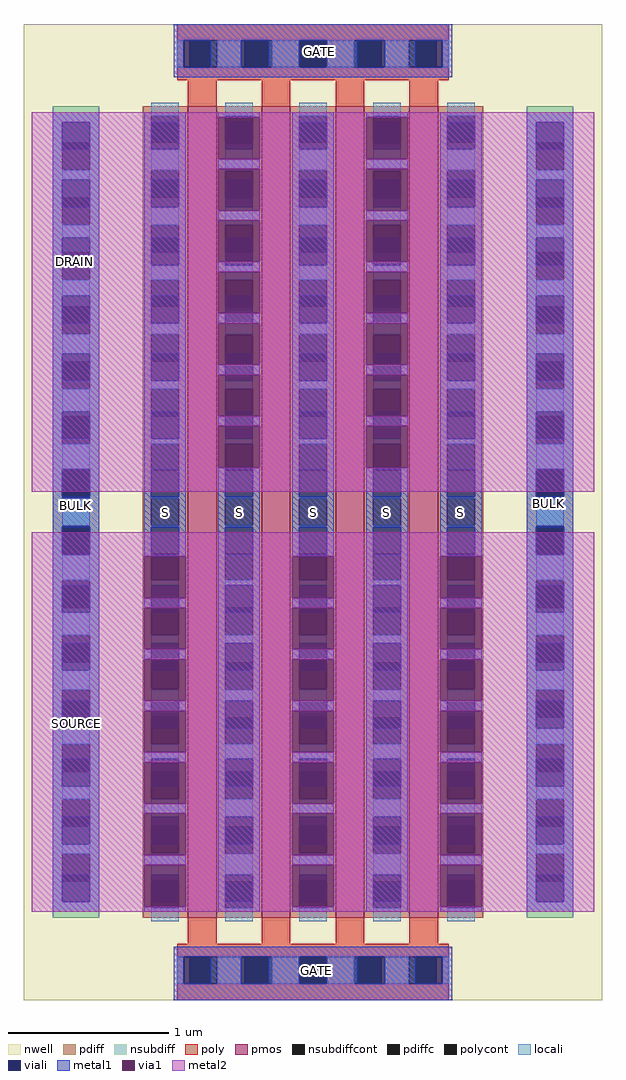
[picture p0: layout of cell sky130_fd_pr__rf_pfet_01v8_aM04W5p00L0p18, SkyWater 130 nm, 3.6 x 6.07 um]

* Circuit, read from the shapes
.subckt sky130_fd_pr__rf_pfet_01v8_aM04W5p00L0p18 BULK DRAIN GATE SOURCE
XM1 DRAIN GATE SOURCE BULK sky130_fd_pr__pfet_01v8 w=5.05 l=0.18 m=4
.ends

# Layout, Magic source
magic
tech sky130A
magscale 1 2
<< nwell >>
rect 0 0 720 1214
<< pmos >>
rect 204 102 240 1112
rect 296 102 332 1112
rect 388 102 424 1112
rect 480 102 516 1112
<< pdiff >>
rect 148 1100 204 1112
rect 148 1066 159 1100
rect 193 1066 204 1100
rect 148 1032 204 1066
rect 148 998 159 1032
rect 193 998 204 1032
rect 148 964 204 998
rect 148 930 159 964
rect 193 930 204 964
rect 148 896 204 930
rect 148 862 159 896
rect 193 862 204 896
rect 148 828 204 862
rect 148 794 159 828
rect 193 794 204 828
rect 148 760 204 794
rect 148 726 159 760
rect 193 726 204 760
rect 148 692 204 726
rect 148 658 159 692
rect 193 658 204 692
rect 148 624 204 658
rect 148 590 159 624
rect 193 590 204 624
rect 148 556 204 590
rect 148 522 159 556
rect 193 522 204 556
rect 148 488 204 522
rect 148 454 159 488
rect 193 454 204 488
rect 148 420 204 454
rect 148 386 159 420
rect 193 386 204 420
rect 148 352 204 386
rect 148 318 159 352
rect 193 318 204 352
rect 148 284 204 318
rect 148 250 159 284
rect 193 250 204 284
rect 148 216 204 250
rect 148 182 159 216
rect 193 182 204 216
rect 148 148 204 182
rect 148 114 159 148
rect 193 114 204 148
rect 148 102 204 114
rect 240 1100 296 1112
rect 240 1066 251 1100
rect 285 1066 296 1100
rect 240 1032 296 1066
rect 240 998 251 1032
rect 285 998 296 1032
rect 240 964 296 998
rect 240 930 251 964
rect 285 930 296 964
rect 240 896 296 930
rect 240 862 251 896
rect 285 862 296 896
rect 240 828 296 862
rect 240 794 251 828
rect 285 794 296 828
rect 240 760 296 794
rect 240 726 251 760
rect 285 726 296 760
rect 240 692 296 726
rect 240 658 251 692
rect 285 658 296 692
rect 240 624 296 658
rect 240 590 251 624
rect 285 590 296 624
rect 240 556 296 590
rect 240 522 251 556
rect 285 522 296 556
rect 240 488 296 522
rect 240 454 251 488
rect 285 454 296 488
rect 240 420 296 454
rect 240 386 251 420
rect 285 386 296 420
rect 240 352 296 386
rect 240 318 251 352
rect 285 318 296 352
rect 240 284 296 318
rect 240 250 251 284
rect 285 250 296 284
rect 240 216 296 250
rect 240 182 251 216
rect 285 182 296 216
rect 240 148 296 182
rect 240 114 251 148
rect 285 114 296 148
rect 240 102 296 114
rect 332 1100 388 1112
rect 332 1066 343 1100
rect 377 1066 388 1100
rect 332 1032 388 1066
rect 332 998 343 1032
rect 377 998 388 1032
rect 332 964 388 998
rect 332 930 343 964
rect 377 930 388 964
rect 332 896 388 930
rect 332 862 343 896
rect 377 862 388 896
rect 332 828 388 862
rect 332 794 343 828
rect 377 794 388 828
rect 332 760 388 794
rect 332 726 343 760
rect 377 726 388 760
rect 332 692 388 726
rect 332 658 343 692
rect 377 658 388 692
rect 332 624 388 658
rect 332 590 343 624
rect 377 590 388 624
rect 332 556 388 590
rect 332 522 343 556
rect 377 522 388 556
rect 332 488 388 522
rect 332 454 343 488
rect 377 454 388 488
rect 332 420 388 454
rect 332 386 343 420
rect 377 386 388 420
rect 332 352 388 386
rect 332 318 343 352
rect 377 318 388 352
rect 332 284 388 318
rect 332 250 343 284
rect 377 250 388 284
rect 332 216 388 250
rect 332 182 343 216
rect 377 182 388 216
rect 332 148 388 182
rect 332 114 343 148
rect 377 114 388 148
rect 332 102 388 114
rect 424 1100 480 1112
rect 424 1066 435 1100
rect 469 1066 480 1100
rect 424 1032 480 1066
rect 424 998 435 1032
rect 469 998 480 1032
rect 424 964 480 998
rect 424 930 435 964
rect 469 930 480 964
rect 424 896 480 930
rect 424 862 435 896
rect 469 862 480 896
rect 424 828 480 862
rect 424 794 435 828
rect 469 794 480 828
rect 424 760 480 794
rect 424 726 435 760
rect 469 726 480 760
rect 424 692 480 726
rect 424 658 435 692
rect 469 658 480 692
rect 424 624 480 658
rect 424 590 435 624
rect 469 590 480 624
rect 424 556 480 590
rect 424 522 435 556
rect 469 522 480 556
rect 424 488 480 522
rect 424 454 435 488
rect 469 454 480 488
rect 424 420 480 454
rect 424 386 435 420
rect 469 386 480 420
rect 424 352 480 386
rect 424 318 435 352
rect 469 318 480 352
rect 424 284 480 318
rect 424 250 435 284
rect 469 250 480 284
rect 424 216 480 250
rect 424 182 435 216
rect 469 182 480 216
rect 424 148 480 182
rect 424 114 435 148
rect 469 114 480 148
rect 424 102 480 114
rect 516 1100 572 1112
rect 516 1066 527 1100
rect 561 1066 572 1100
rect 516 1032 572 1066
rect 516 998 527 1032
rect 561 998 572 1032
rect 516 964 572 998
rect 516 930 527 964
rect 561 930 572 964
rect 516 896 572 930
rect 516 862 527 896
rect 561 862 572 896
rect 516 828 572 862
rect 516 794 527 828
rect 561 794 572 828
rect 516 760 572 794
rect 516 726 527 760
rect 561 726 572 760
rect 516 692 572 726
rect 516 658 527 692
rect 561 658 572 692
rect 516 624 572 658
rect 516 590 527 624
rect 561 590 572 624
rect 516 556 572 590
rect 516 522 527 556
rect 561 522 572 556
rect 516 488 572 522
rect 516 454 527 488
rect 561 454 572 488
rect 516 420 572 454
rect 516 386 527 420
rect 561 386 572 420
rect 516 352 572 386
rect 516 318 527 352
rect 561 318 572 352
rect 516 284 572 318
rect 516 250 527 284
rect 561 250 572 284
rect 516 216 572 250
rect 516 182 527 216
rect 561 182 572 216
rect 516 148 572 182
rect 516 114 527 148
rect 561 114 572 148
rect 516 102 572 114
<< pdiffc >>
rect 159 1066 193 1100
rect 159 998 193 1032
rect 159 930 193 964
rect 159 862 193 896
rect 159 794 193 828
rect 159 726 193 760
rect 159 658 193 692
rect 159 590 193 624
rect 159 522 193 556
rect 159 454 193 488
rect 159 386 193 420
rect 159 318 193 352
rect 159 250 193 284
rect 159 182 193 216
rect 159 114 193 148
rect 251 1066 285 1100
rect 251 998 285 1032
rect 251 930 285 964
rect 251 862 285 896
rect 251 794 285 828
rect 251 726 285 760
rect 251 658 285 692
rect 251 590 285 624
rect 251 522 285 556
rect 251 454 285 488
rect 251 386 285 420
rect 251 318 285 352
rect 251 250 285 284
rect 251 182 285 216
rect 251 114 285 148
rect 343 1066 377 1100
rect 343 998 377 1032
rect 343 930 377 964
rect 343 862 377 896
rect 343 794 377 828
rect 343 726 377 760
rect 343 658 377 692
rect 343 590 377 624
rect 343 522 377 556
rect 343 454 377 488
rect 343 386 377 420
rect 343 318 377 352
rect 343 250 377 284
rect 343 182 377 216
rect 343 114 377 148
rect 435 1066 469 1100
rect 435 998 469 1032
rect 435 930 469 964
rect 435 862 469 896
rect 435 794 469 828
rect 435 726 469 760
rect 435 658 469 692
rect 435 590 469 624
rect 435 522 469 556
rect 435 454 469 488
rect 435 386 469 420
rect 435 318 469 352
rect 435 250 469 284
rect 435 182 469 216
rect 435 114 469 148
rect 527 1066 561 1100
rect 527 998 561 1032
rect 527 930 561 964
rect 527 862 561 896
rect 527 794 561 828
rect 527 726 561 760
rect 527 658 561 692
rect 527 590 561 624
rect 527 522 561 556
rect 527 454 561 488
rect 527 386 561 420
rect 527 318 561 352
rect 527 250 561 284
rect 527 182 561 216
rect 527 114 561 148
<< nsubdiff >>
rect 36 1066 94 1112
rect 36 1032 48 1066
rect 82 1032 94 1066
rect 36 998 94 1032
rect 36 964 48 998
rect 82 964 94 998
rect 36 930 94 964
rect 36 896 48 930
rect 82 896 94 930
rect 36 862 94 896
rect 36 828 48 862
rect 82 828 94 862
rect 36 794 94 828
rect 36 760 48 794
rect 82 760 94 794
rect 36 726 94 760
rect 36 692 48 726
rect 82 692 94 726
rect 36 658 94 692
rect 36 624 48 658
rect 82 624 94 658
rect 36 590 94 624
rect 36 556 48 590
rect 82 556 94 590
rect 36 522 94 556
rect 36 488 48 522
rect 82 488 94 522
rect 36 454 94 488
rect 36 420 48 454
rect 82 420 94 454
rect 36 386 94 420
rect 36 352 48 386
rect 82 352 94 386
rect 36 318 94 352
rect 36 284 48 318
rect 82 284 94 318
rect 36 250 94 284
rect 36 216 48 250
rect 82 216 94 250
rect 36 182 94 216
rect 36 148 48 182
rect 82 148 94 182
rect 36 102 94 148
rect 626 1066 684 1112
rect 626 1032 638 1066
rect 672 1032 684 1066
rect 626 998 684 1032
rect 626 964 638 998
rect 672 964 684 998
rect 626 930 684 964
rect 626 896 638 930
rect 672 896 684 930
rect 626 862 684 896
rect 626 828 638 862
rect 672 828 684 862
rect 626 794 684 828
rect 626 760 638 794
rect 672 760 684 794
rect 626 726 684 760
rect 626 692 638 726
rect 672 692 684 726
rect 626 658 684 692
rect 626 624 638 658
rect 672 624 684 658
rect 626 590 684 624
rect 626 556 638 590
rect 672 556 684 590
rect 626 522 684 556
rect 626 488 638 522
rect 672 488 684 522
rect 626 454 684 488
rect 626 420 638 454
rect 672 420 684 454
rect 626 386 684 420
rect 626 352 638 386
rect 672 352 684 386
rect 626 318 684 352
rect 626 284 638 318
rect 672 284 684 318
rect 626 250 684 284
rect 626 216 638 250
rect 672 216 684 250
rect 626 182 684 216
rect 626 148 638 182
rect 672 148 684 182
rect 626 102 684 148
<< nsubdiffcont >>
rect 48 1032 82 1066
rect 48 964 82 998
rect 48 896 82 930
rect 48 828 82 862
rect 48 760 82 794
rect 48 692 82 726
rect 48 624 82 658
rect 48 556 82 590
rect 48 488 82 522
rect 48 420 82 454
rect 48 352 82 386
rect 48 284 82 318
rect 48 216 82 250
rect 48 148 82 182
rect 638 1032 672 1066
rect 638 964 672 998
rect 638 896 672 930
rect 638 828 672 862
rect 638 760 672 794
rect 638 692 672 726
rect 638 624 672 658
rect 638 556 672 590
rect 638 488 672 522
rect 638 420 672 454
rect 638 352 672 386
rect 638 284 672 318
rect 638 216 672 250
rect 638 148 672 182
<< poly >>
rect 191 1194 529 1214
rect 191 1160 207 1194
rect 241 1160 275 1194
rect 309 1160 343 1194
rect 377 1160 411 1194
rect 445 1160 479 1194
rect 513 1160 529 1194
rect 191 1144 529 1160
rect 204 1112 240 1144
rect 296 1112 332 1144
rect 388 1112 424 1144
rect 480 1112 516 1144
rect 204 70 240 102
rect 296 70 332 102
rect 388 70 424 102
rect 480 70 516 102
rect 191 54 529 70
rect 191 20 207 54
rect 241 20 275 54
rect 309 20 343 54
rect 377 20 411 54
rect 445 20 479 54
rect 513 20 529 54
rect 191 0 529 20
<< polycont >>
rect 207 1160 241 1194
rect 275 1160 309 1194
rect 343 1160 377 1194
rect 411 1160 445 1194
rect 479 1160 513 1194
rect 207 20 241 54
rect 275 20 309 54
rect 343 20 377 54
rect 411 20 445 54
rect 479 20 513 54
<< locali >>
rect 191 1160 199 1194
rect 241 1160 271 1194
rect 309 1160 343 1194
rect 377 1160 411 1194
rect 449 1160 479 1194
rect 521 1160 529 1194
rect 159 1100 193 1116
rect 48 1020 82 1032
rect 48 948 82 964
rect 48 876 82 896
rect 48 804 82 828
rect 48 732 82 760
rect 48 660 82 692
rect 48 590 82 624
rect 48 522 82 554
rect 48 454 82 482
rect 48 386 82 410
rect 48 318 82 338
rect 48 250 82 266
rect 48 182 82 194
rect 159 1032 193 1058
rect 159 964 193 986
rect 159 896 193 914
rect 159 828 193 842
rect 159 760 193 770
rect 159 692 193 698
rect 159 624 193 626
rect 159 588 193 590
rect 159 516 193 522
rect 159 444 193 454
rect 159 372 193 386
rect 159 300 193 318
rect 159 228 193 250
rect 159 156 193 182
rect 159 98 193 114
rect 251 1100 285 1116
rect 251 1032 285 1058
rect 251 964 285 986
rect 251 896 285 914
rect 251 828 285 842
rect 251 760 285 770
rect 251 692 285 698
rect 251 624 285 626
rect 251 588 285 590
rect 251 516 285 522
rect 251 444 285 454
rect 251 372 285 386
rect 251 300 285 318
rect 251 228 285 250
rect 251 156 285 182
rect 251 98 285 114
rect 343 1100 377 1116
rect 343 1032 377 1058
rect 343 964 377 986
rect 343 896 377 914
rect 343 828 377 842
rect 343 760 377 770
rect 343 692 377 698
rect 343 624 377 626
rect 343 588 377 590
rect 343 516 377 522
rect 343 444 377 454
rect 343 372 377 386
rect 343 300 377 318
rect 343 228 377 250
rect 343 156 377 182
rect 343 98 377 114
rect 435 1100 469 1116
rect 435 1032 469 1058
rect 435 964 469 986
rect 435 896 469 914
rect 435 828 469 842
rect 435 760 469 770
rect 435 692 469 698
rect 435 624 469 626
rect 435 588 469 590
rect 435 516 469 522
rect 435 444 469 454
rect 435 372 469 386
rect 435 300 469 318
rect 435 228 469 250
rect 435 156 469 182
rect 435 98 469 114
rect 527 1100 561 1116
rect 527 1032 561 1058
rect 527 964 561 986
rect 527 896 561 914
rect 527 828 561 842
rect 527 760 561 770
rect 527 692 561 698
rect 527 624 561 626
rect 527 588 561 590
rect 527 516 561 522
rect 527 444 561 454
rect 527 372 561 386
rect 527 300 561 318
rect 527 228 561 250
rect 527 156 561 182
rect 638 1020 672 1032
rect 638 948 672 964
rect 638 876 672 896
rect 638 804 672 828
rect 638 732 672 760
rect 638 660 672 692
rect 638 590 672 624
rect 638 522 672 554
rect 638 454 672 482
rect 638 386 672 410
rect 638 318 672 338
rect 638 250 672 266
rect 638 182 672 194
rect 527 98 561 114
rect 191 20 199 54
rect 241 20 271 54
rect 309 20 343 54
rect 377 20 411 54
rect 449 20 479 54
rect 521 20 529 54
<< viali >>
rect 199 1160 207 1194
rect 207 1160 233 1194
rect 271 1160 275 1194
rect 275 1160 305 1194
rect 343 1160 377 1194
rect 415 1160 445 1194
rect 445 1160 449 1194
rect 487 1160 513 1194
rect 513 1160 521 1194
rect 48 1066 82 1092
rect 48 1058 82 1066
rect 48 998 82 1020
rect 48 986 82 998
rect 48 930 82 948
rect 48 914 82 930
rect 48 862 82 876
rect 48 842 82 862
rect 48 794 82 804
rect 48 770 82 794
rect 48 726 82 732
rect 48 698 82 726
rect 48 658 82 660
rect 48 626 82 658
rect 48 556 82 588
rect 48 554 82 556
rect 48 488 82 516
rect 48 482 82 488
rect 48 420 82 444
rect 48 410 82 420
rect 48 352 82 372
rect 48 338 82 352
rect 48 284 82 300
rect 48 266 82 284
rect 48 216 82 228
rect 48 194 82 216
rect 48 148 82 156
rect 48 122 82 148
rect 159 1066 193 1092
rect 159 1058 193 1066
rect 159 998 193 1020
rect 159 986 193 998
rect 159 930 193 948
rect 159 914 193 930
rect 159 862 193 876
rect 159 842 193 862
rect 159 794 193 804
rect 159 770 193 794
rect 159 726 193 732
rect 159 698 193 726
rect 159 658 193 660
rect 159 626 193 658
rect 159 556 193 588
rect 159 554 193 556
rect 159 488 193 516
rect 159 482 193 488
rect 159 420 193 444
rect 159 410 193 420
rect 159 352 193 372
rect 159 338 193 352
rect 159 284 193 300
rect 159 266 193 284
rect 159 216 193 228
rect 159 194 193 216
rect 159 148 193 156
rect 159 122 193 148
rect 251 1066 285 1092
rect 251 1058 285 1066
rect 251 998 285 1020
rect 251 986 285 998
rect 251 930 285 948
rect 251 914 285 930
rect 251 862 285 876
rect 251 842 285 862
rect 251 794 285 804
rect 251 770 285 794
rect 251 726 285 732
rect 251 698 285 726
rect 251 658 285 660
rect 251 626 285 658
rect 251 556 285 588
rect 251 554 285 556
rect 251 488 285 516
rect 251 482 285 488
rect 251 420 285 444
rect 251 410 285 420
rect 251 352 285 372
rect 251 338 285 352
rect 251 284 285 300
rect 251 266 285 284
rect 251 216 285 228
rect 251 194 285 216
rect 251 148 285 156
rect 251 122 285 148
rect 343 1066 377 1092
rect 343 1058 377 1066
rect 343 998 377 1020
rect 343 986 377 998
rect 343 930 377 948
rect 343 914 377 930
rect 343 862 377 876
rect 343 842 377 862
rect 343 794 377 804
rect 343 770 377 794
rect 343 726 377 732
rect 343 698 377 726
rect 343 658 377 660
rect 343 626 377 658
rect 343 556 377 588
rect 343 554 377 556
rect 343 488 377 516
rect 343 482 377 488
rect 343 420 377 444
rect 343 410 377 420
rect 343 352 377 372
rect 343 338 377 352
rect 343 284 377 300
rect 343 266 377 284
rect 343 216 377 228
rect 343 194 377 216
rect 343 148 377 156
rect 343 122 377 148
rect 435 1066 469 1092
rect 435 1058 469 1066
rect 435 998 469 1020
rect 435 986 469 998
rect 435 930 469 948
rect 435 914 469 930
rect 435 862 469 876
rect 435 842 469 862
rect 435 794 469 804
rect 435 770 469 794
rect 435 726 469 732
rect 435 698 469 726
rect 435 658 469 660
rect 435 626 469 658
rect 435 556 469 588
rect 435 554 469 556
rect 435 488 469 516
rect 435 482 469 488
rect 435 420 469 444
rect 435 410 469 420
rect 435 352 469 372
rect 435 338 469 352
rect 435 284 469 300
rect 435 266 469 284
rect 435 216 469 228
rect 435 194 469 216
rect 435 148 469 156
rect 435 122 469 148
rect 527 1066 561 1092
rect 527 1058 561 1066
rect 527 998 561 1020
rect 527 986 561 998
rect 527 930 561 948
rect 527 914 561 930
rect 527 862 561 876
rect 527 842 561 862
rect 527 794 561 804
rect 527 770 561 794
rect 527 726 561 732
rect 527 698 561 726
rect 527 658 561 660
rect 527 626 561 658
rect 527 556 561 588
rect 527 554 561 556
rect 527 488 561 516
rect 527 482 561 488
rect 527 420 561 444
rect 527 410 561 420
rect 527 352 561 372
rect 527 338 561 352
rect 527 284 561 300
rect 527 266 561 284
rect 527 216 561 228
rect 527 194 561 216
rect 527 148 561 156
rect 527 122 561 148
rect 638 1066 672 1092
rect 638 1058 672 1066
rect 638 998 672 1020
rect 638 986 672 998
rect 638 930 672 948
rect 638 914 672 930
rect 638 862 672 876
rect 638 842 672 862
rect 638 794 672 804
rect 638 770 672 794
rect 638 726 672 732
rect 638 698 672 726
rect 638 658 672 660
rect 638 626 672 658
rect 638 556 672 588
rect 638 554 672 556
rect 638 488 672 516
rect 638 482 672 488
rect 638 420 672 444
rect 638 410 672 420
rect 638 352 672 372
rect 638 338 672 352
rect 638 284 672 300
rect 638 266 672 284
rect 638 216 672 228
rect 638 194 672 216
rect 638 148 672 156
rect 638 122 672 148
rect 199 20 207 54
rect 207 20 233 54
rect 271 20 275 54
rect 275 20 305 54
rect 343 20 377 54
rect 415 20 445 54
rect 445 20 449 54
rect 487 20 513 54
rect 513 20 521 54
<< metal1 >>
rect 187 1194 533 1214
rect 187 1160 199 1194
rect 233 1160 271 1194
rect 305 1160 343 1194
rect 377 1160 415 1194
rect 449 1160 487 1194
rect 521 1160 533 1194
rect 187 1148 533 1160
rect 36 1092 94 1104
rect 36 1058 48 1092
rect 82 1058 94 1092
rect 36 1020 94 1058
rect 36 986 48 1020
rect 82 986 94 1020
rect 36 948 94 986
rect 36 914 48 948
rect 82 914 94 948
rect 36 876 94 914
rect 36 842 48 876
rect 82 842 94 876
rect 36 804 94 842
rect 36 770 48 804
rect 82 770 94 804
rect 36 732 94 770
rect 36 698 48 732
rect 82 698 94 732
rect 36 660 94 698
rect 36 626 48 660
rect 82 626 94 660
rect 36 588 94 626
rect 36 554 48 588
rect 82 554 94 588
rect 36 516 94 554
rect 36 482 48 516
rect 82 482 94 516
rect 36 444 94 482
rect 36 410 48 444
rect 82 410 94 444
rect 36 372 94 410
rect 36 338 48 372
rect 82 338 94 372
rect 36 300 94 338
rect 36 266 48 300
rect 82 266 94 300
rect 36 228 94 266
rect 36 194 48 228
rect 82 194 94 228
rect 36 156 94 194
rect 36 122 48 156
rect 82 122 94 156
rect 36 110 94 122
rect 150 1092 202 1104
rect 150 1058 159 1092
rect 193 1058 202 1092
rect 150 1020 202 1058
rect 150 986 159 1020
rect 193 986 202 1020
rect 150 948 202 986
rect 150 914 159 948
rect 193 914 202 948
rect 150 876 202 914
rect 150 842 159 876
rect 193 842 202 876
rect 150 804 202 842
rect 150 770 159 804
rect 193 770 202 804
rect 150 732 202 770
rect 150 698 159 732
rect 193 698 202 732
rect 150 660 202 698
rect 150 626 159 660
rect 193 626 202 660
rect 150 588 202 626
rect 150 554 159 588
rect 193 554 202 588
rect 150 552 202 554
rect 150 488 159 500
rect 193 488 202 500
rect 150 424 159 436
rect 193 424 202 436
rect 150 360 159 372
rect 193 360 202 372
rect 150 300 202 308
rect 150 296 159 300
rect 193 296 202 300
rect 150 232 202 244
rect 150 168 202 180
rect 150 110 202 116
rect 242 1098 294 1104
rect 242 1034 294 1046
rect 242 970 294 982
rect 242 914 251 918
rect 285 914 294 918
rect 242 906 294 914
rect 242 842 251 854
rect 285 842 294 854
rect 242 778 251 790
rect 285 778 294 790
rect 242 714 251 726
rect 285 714 294 726
rect 242 660 294 662
rect 242 626 251 660
rect 285 626 294 660
rect 242 588 294 626
rect 242 554 251 588
rect 285 554 294 588
rect 242 516 294 554
rect 242 482 251 516
rect 285 482 294 516
rect 242 444 294 482
rect 242 410 251 444
rect 285 410 294 444
rect 242 372 294 410
rect 242 338 251 372
rect 285 338 294 372
rect 242 300 294 338
rect 242 266 251 300
rect 285 266 294 300
rect 242 228 294 266
rect 242 194 251 228
rect 285 194 294 228
rect 242 156 294 194
rect 242 122 251 156
rect 285 122 294 156
rect 242 110 294 122
rect 334 1092 386 1104
rect 334 1058 343 1092
rect 377 1058 386 1092
rect 334 1020 386 1058
rect 334 986 343 1020
rect 377 986 386 1020
rect 334 948 386 986
rect 334 914 343 948
rect 377 914 386 948
rect 334 876 386 914
rect 334 842 343 876
rect 377 842 386 876
rect 334 804 386 842
rect 334 770 343 804
rect 377 770 386 804
rect 334 732 386 770
rect 334 698 343 732
rect 377 698 386 732
rect 334 660 386 698
rect 334 626 343 660
rect 377 626 386 660
rect 334 588 386 626
rect 334 554 343 588
rect 377 554 386 588
rect 334 552 386 554
rect 334 488 343 500
rect 377 488 386 500
rect 334 424 343 436
rect 377 424 386 436
rect 334 360 343 372
rect 377 360 386 372
rect 334 300 386 308
rect 334 296 343 300
rect 377 296 386 300
rect 334 232 386 244
rect 334 168 386 180
rect 334 110 386 116
rect 426 1098 478 1104
rect 426 1034 478 1046
rect 426 970 478 982
rect 426 914 435 918
rect 469 914 478 918
rect 426 906 478 914
rect 426 842 435 854
rect 469 842 478 854
rect 426 778 435 790
rect 469 778 478 790
rect 426 714 435 726
rect 469 714 478 726
rect 426 660 478 662
rect 426 626 435 660
rect 469 626 478 660
rect 426 588 478 626
rect 426 554 435 588
rect 469 554 478 588
rect 426 516 478 554
rect 426 482 435 516
rect 469 482 478 516
rect 426 444 478 482
rect 426 410 435 444
rect 469 410 478 444
rect 426 372 478 410
rect 426 338 435 372
rect 469 338 478 372
rect 426 300 478 338
rect 426 266 435 300
rect 469 266 478 300
rect 426 228 478 266
rect 426 194 435 228
rect 469 194 478 228
rect 426 156 478 194
rect 426 122 435 156
rect 469 122 478 156
rect 426 110 478 122
rect 518 1092 570 1104
rect 518 1058 527 1092
rect 561 1058 570 1092
rect 518 1020 570 1058
rect 518 986 527 1020
rect 561 986 570 1020
rect 518 948 570 986
rect 518 914 527 948
rect 561 914 570 948
rect 518 876 570 914
rect 518 842 527 876
rect 561 842 570 876
rect 518 804 570 842
rect 518 770 527 804
rect 561 770 570 804
rect 518 732 570 770
rect 518 698 527 732
rect 561 698 570 732
rect 518 660 570 698
rect 518 626 527 660
rect 561 626 570 660
rect 518 588 570 626
rect 518 554 527 588
rect 561 554 570 588
rect 518 552 570 554
rect 518 488 527 500
rect 561 488 570 500
rect 518 424 527 436
rect 561 424 570 436
rect 518 360 527 372
rect 561 360 570 372
rect 518 300 570 308
rect 518 296 527 300
rect 561 296 570 300
rect 518 232 570 244
rect 518 168 570 180
rect 518 110 570 116
rect 626 1092 684 1104
rect 626 1058 638 1092
rect 672 1058 684 1092
rect 626 1020 684 1058
rect 626 986 638 1020
rect 672 986 684 1020
rect 626 948 684 986
rect 626 914 638 948
rect 672 914 684 948
rect 626 876 684 914
rect 626 842 638 876
rect 672 842 684 876
rect 626 804 684 842
rect 626 770 638 804
rect 672 770 684 804
rect 626 732 684 770
rect 626 698 638 732
rect 672 698 684 732
rect 626 660 684 698
rect 626 626 638 660
rect 672 626 684 660
rect 626 588 684 626
rect 626 554 638 588
rect 672 554 684 588
rect 626 516 684 554
rect 626 482 638 516
rect 672 482 684 516
rect 626 444 684 482
rect 626 410 638 444
rect 672 410 684 444
rect 626 372 684 410
rect 626 338 638 372
rect 672 338 684 372
rect 626 300 684 338
rect 626 266 638 300
rect 672 266 684 300
rect 626 228 684 266
rect 626 194 638 228
rect 672 194 684 228
rect 626 156 684 194
rect 626 122 638 156
rect 672 122 684 156
rect 626 110 684 122
rect 187 54 533 66
rect 187 20 199 54
rect 233 20 271 54
rect 305 20 343 54
rect 377 20 415 54
rect 449 20 487 54
rect 521 20 533 54
rect 187 0 533 20
<< via1 >>
rect 150 516 202 552
rect 150 500 159 516
rect 159 500 193 516
rect 193 500 202 516
rect 150 482 159 488
rect 159 482 193 488
rect 193 482 202 488
rect 150 444 202 482
rect 150 436 159 444
rect 159 436 193 444
rect 193 436 202 444
rect 150 410 159 424
rect 159 410 193 424
rect 193 410 202 424
rect 150 372 202 410
rect 150 338 159 360
rect 159 338 193 360
rect 193 338 202 360
rect 150 308 202 338
rect 150 266 159 296
rect 159 266 193 296
rect 193 266 202 296
rect 150 244 202 266
rect 150 228 202 232
rect 150 194 159 228
rect 159 194 193 228
rect 193 194 202 228
rect 150 180 202 194
rect 150 156 202 168
rect 150 122 159 156
rect 159 122 193 156
rect 193 122 202 156
rect 150 116 202 122
rect 242 1092 294 1098
rect 242 1058 251 1092
rect 251 1058 285 1092
rect 285 1058 294 1092
rect 242 1046 294 1058
rect 242 1020 294 1034
rect 242 986 251 1020
rect 251 986 285 1020
rect 285 986 294 1020
rect 242 982 294 986
rect 242 948 294 970
rect 242 918 251 948
rect 251 918 285 948
rect 285 918 294 948
rect 242 876 294 906
rect 242 854 251 876
rect 251 854 285 876
rect 285 854 294 876
rect 242 804 294 842
rect 242 790 251 804
rect 251 790 285 804
rect 285 790 294 804
rect 242 770 251 778
rect 251 770 285 778
rect 285 770 294 778
rect 242 732 294 770
rect 242 726 251 732
rect 251 726 285 732
rect 285 726 294 732
rect 242 698 251 714
rect 251 698 285 714
rect 285 698 294 714
rect 242 662 294 698
rect 334 516 386 552
rect 334 500 343 516
rect 343 500 377 516
rect 377 500 386 516
rect 334 482 343 488
rect 343 482 377 488
rect 377 482 386 488
rect 334 444 386 482
rect 334 436 343 444
rect 343 436 377 444
rect 377 436 386 444
rect 334 410 343 424
rect 343 410 377 424
rect 377 410 386 424
rect 334 372 386 410
rect 334 338 343 360
rect 343 338 377 360
rect 377 338 386 360
rect 334 308 386 338
rect 334 266 343 296
rect 343 266 377 296
rect 377 266 386 296
rect 334 244 386 266
rect 334 228 386 232
rect 334 194 343 228
rect 343 194 377 228
rect 377 194 386 228
rect 334 180 386 194
rect 334 156 386 168
rect 334 122 343 156
rect 343 122 377 156
rect 377 122 386 156
rect 334 116 386 122
rect 426 1092 478 1098
rect 426 1058 435 1092
rect 435 1058 469 1092
rect 469 1058 478 1092
rect 426 1046 478 1058
rect 426 1020 478 1034
rect 426 986 435 1020
rect 435 986 469 1020
rect 469 986 478 1020
rect 426 982 478 986
rect 426 948 478 970
rect 426 918 435 948
rect 435 918 469 948
rect 469 918 478 948
rect 426 876 478 906
rect 426 854 435 876
rect 435 854 469 876
rect 469 854 478 876
rect 426 804 478 842
rect 426 790 435 804
rect 435 790 469 804
rect 469 790 478 804
rect 426 770 435 778
rect 435 770 469 778
rect 469 770 478 778
rect 426 732 478 770
rect 426 726 435 732
rect 435 726 469 732
rect 469 726 478 732
rect 426 698 435 714
rect 435 698 469 714
rect 469 698 478 714
rect 426 662 478 698
rect 518 516 570 552
rect 518 500 527 516
rect 527 500 561 516
rect 561 500 570 516
rect 518 482 527 488
rect 527 482 561 488
rect 561 482 570 488
rect 518 444 570 482
rect 518 436 527 444
rect 527 436 561 444
rect 561 436 570 444
rect 518 410 527 424
rect 527 410 561 424
rect 561 410 570 424
rect 518 372 570 410
rect 518 338 527 360
rect 527 338 561 360
rect 561 338 570 360
rect 518 308 570 338
rect 518 266 527 296
rect 527 266 561 296
rect 561 266 570 296
rect 518 244 570 266
rect 518 228 570 232
rect 518 194 527 228
rect 527 194 561 228
rect 561 194 570 228
rect 518 180 570 194
rect 518 156 570 168
rect 518 122 527 156
rect 527 122 561 156
rect 561 122 570 156
rect 518 116 570 122
<< metal2 >>
rect 10 1098 710 1104
rect 10 1046 242 1098
rect 294 1046 426 1098
rect 478 1046 710 1098
rect 10 1034 710 1046
rect 10 982 242 1034
rect 294 982 426 1034
rect 478 982 710 1034
rect 10 970 710 982
rect 10 918 242 970
rect 294 918 426 970
rect 478 918 710 970
rect 10 906 710 918
rect 10 854 242 906
rect 294 854 426 906
rect 478 854 710 906
rect 10 842 710 854
rect 10 790 242 842
rect 294 790 426 842
rect 478 790 710 842
rect 10 778 710 790
rect 10 726 242 778
rect 294 726 426 778
rect 478 726 710 778
rect 10 714 710 726
rect 10 662 242 714
rect 294 662 426 714
rect 478 662 710 714
rect 10 632 710 662
rect 10 552 710 582
rect 10 500 150 552
rect 202 500 334 552
rect 386 500 518 552
rect 570 500 710 552
rect 10 488 710 500
rect 10 436 150 488
rect 202 436 334 488
rect 386 436 518 488
rect 570 436 710 488
rect 10 424 710 436
rect 10 372 150 424
rect 202 372 334 424
rect 386 372 518 424
rect 570 372 710 424
rect 10 360 710 372
rect 10 308 150 360
rect 202 308 334 360
rect 386 308 518 360
rect 570 308 710 360
rect 10 296 710 308
rect 10 244 150 296
rect 202 244 334 296
rect 386 244 518 296
rect 570 244 710 296
rect 10 232 710 244
rect 10 180 150 232
rect 202 180 334 232
rect 386 180 518 232
rect 570 180 710 232
rect 10 168 710 180
rect 10 116 150 168
rect 202 116 334 168
rect 386 116 518 168
rect 570 116 710 168
rect 10 110 710 116
<< labels >>
flabel comment s 176 607 176 607 0 FreeSans 300 0 0 0 S
flabel comment s 176 607 176 607 0 FreeSans 300 0 0 0 S
flabel comment s 268 607 268 607 0 FreeSans 300 0 0 0 S
flabel comment s 268 607 268 607 0 FreeSans 300 0 0 0 D
flabel comment s 360 607 360 607 0 FreeSans 300 0 0 0 S
flabel comment s 360 607 360 607 0 FreeSans 300 0 0 0 S
flabel comment s 452 607 452 607 0 FreeSans 300 0 0 0 S
flabel comment s 452 607 452 607 0 FreeSans 300 0 0 0 D
flabel comment s 544 607 544 607 0 FreeSans 300 0 0 0 S
flabel metal1 s 48 610 82 621 0 FreeSans 100 0 0 0 BULK
port 1 nsew
flabel metal1 s 339 1167 397 1192 0 FreeSans 100 0 0 0 GATE
port 3 nsew
flabel metal1 s 335 24 393 49 0 FreeSans 100 0 0 0 GATE
port 3 nsew
flabel metal1 s 636 612 670 623 0 FreeSans 100 0 0 0 BULK
port 1 nsew
flabel metal2 s 56 886 71 952 0 FreeSans 100 0 0 0 DRAIN
port 2 nsew
flabel metal2 s 59 312 73 375 0 FreeSans 100 0 0 0 SOURCE
port 4 nsew
<< properties >>
string GDS_FILE $PDKPATH/libs.ref/sky130_fd_pr/gds/sky130_fd_pr.gds
string GDS_END 9549950
string GDS_START 9527920
<< end >>
